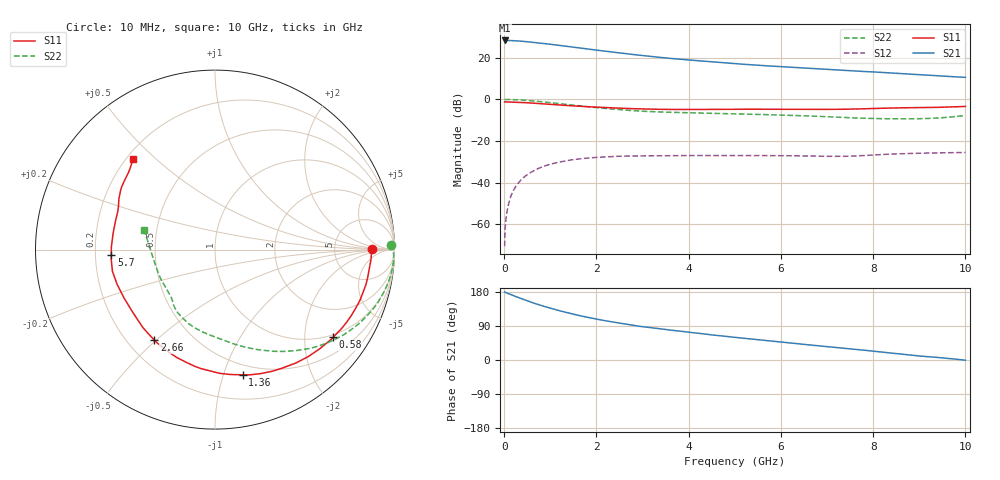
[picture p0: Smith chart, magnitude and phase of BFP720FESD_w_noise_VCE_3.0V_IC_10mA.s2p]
! Infineon Technologies  Discrete & RF Semiconductors
! BFP720FESD
! VCE =  3.0 V,  IC =  10 mA
! Common Emitter S-Parameters:  Jan 2016
# GHz  S  MA  R  50
!  f  S11  S21  S12  S22
! GHz  MAG  ANG  MAG  ANG  MAG  ANG  MAG  ANG
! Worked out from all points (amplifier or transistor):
!   233 points, 10 MHz to 10 GHz, reference 50 ohm
!   highest |S21| = 28.3 dB at 10 MHz (marker M1)
!   |S21| within 3 dB of that: start of sweep to 1.427 GHz
!   unconditionally stable (mu >= 1): 6.445 GHz to end of sweep
!   at 200 MHz: K = 0.05, MSG = 36.0 dB, |S12| = -43.7 dB
!   at 1.74 GHz: K = 0.29, MSG = 26.4 dB, |S12| = -28.3 dB
!   at 10 GHz: K = 1.29, MAG = 14.8 dB, |S12| = -25.5 dB
!   lowest NFmin = 0.67 dB at 450 MHz
!   S11 on the Smith chart (normalised r, x): 10 MHz: 15, +1; 580 MHz: 0.93, -2.75; 1.36 GHz: 0.41, -1.16; 2.66 GHz: 0.31, -0.49; 5.7 GHz: 0.27, -0.02; 10 GHz: 0.23, +0.42
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0.01  0.8727 0.3  26.01 179.3  0.0003 81.1  0.9793 1.6
0.03  0.8712 -1.8  25.84 178.1  0.0011 91.5  0.9941 -0.9
0.08  0.8687 -5.2  25.82 175.9  0.0026 87.3  0.996 -3.1
0.2  0.8632 -13.0  25.7 170.1  0.0065 82.2  0.9893 -8.1
0.3  0.8555 -19.4  25.33 165.2  0.0096 78.9  0.9779 -12.1
0.44  0.8392 -28.0  24.6 158.7  0.0139 74.1  0.9562 -17.5
0.58  0.8198 -36.5  23.77 152.6  0.0178 69.3  0.9289 -22.6
0.72  0.8005 -44.5  22.9 147.0  0.0215 64.9  0.9003 -27.4
0.9  0.7761 -54.5  21.76 140.2  0.0257 59.7  0.8612 -33.3
1.12  0.7457 -65.9  20.33 132.6  0.0301 53.8  0.8101 -40.1
1.36  0.7146 -77.5  18.82 124.9  0.034 47.9  0.7554 -47.0
1.68  0.6796 -91.3  16.96 115.9  0.0379 41.3  0.6901 -55.2
2.2  0.6374 -109.7  14.33 103.4  0.0417 32.8  0.6065 -66.8
2.66  0.6069 -123.8  12.47 94.1  0.0436 27.1  0.5508 -75.9
3  0.5917 -132.8  11.29 87.9  0.0441 23.7  0.5204 -81.7
3.4  0.5776 -140.9  10.15 82.0  0.0443 21.6  0.499 -86.6
4.1  0.5739 -153.6  8.667 72.0  0.045 18.6  0.4747 -94.2
5.1  0.5829 -169.3  7.096 58.5  0.0451 15.5  0.4468 -105.8
5.7  0.5786 -177.2  6.397 51.2  0.0448 14.5  0.4304 -112.1
6.8  0.5749 166.6  5.409 37.6  0.0434 14.8  0.3931 -124.8
8.4  0.6216 147.7  4.312 18.2  0.0488 21.1  0.3433 -151.0
10  0.6787 132.3  3.383 -0.5  0.0532 18.0  0.4098 164.6
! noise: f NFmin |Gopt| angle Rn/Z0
0.45  0.67  0.34  3  0.12
2.4  0.75  0.2  29  0.13
5.5  0.89  0.27  115  0.09
10  1.35  0.26  -149  0.11
